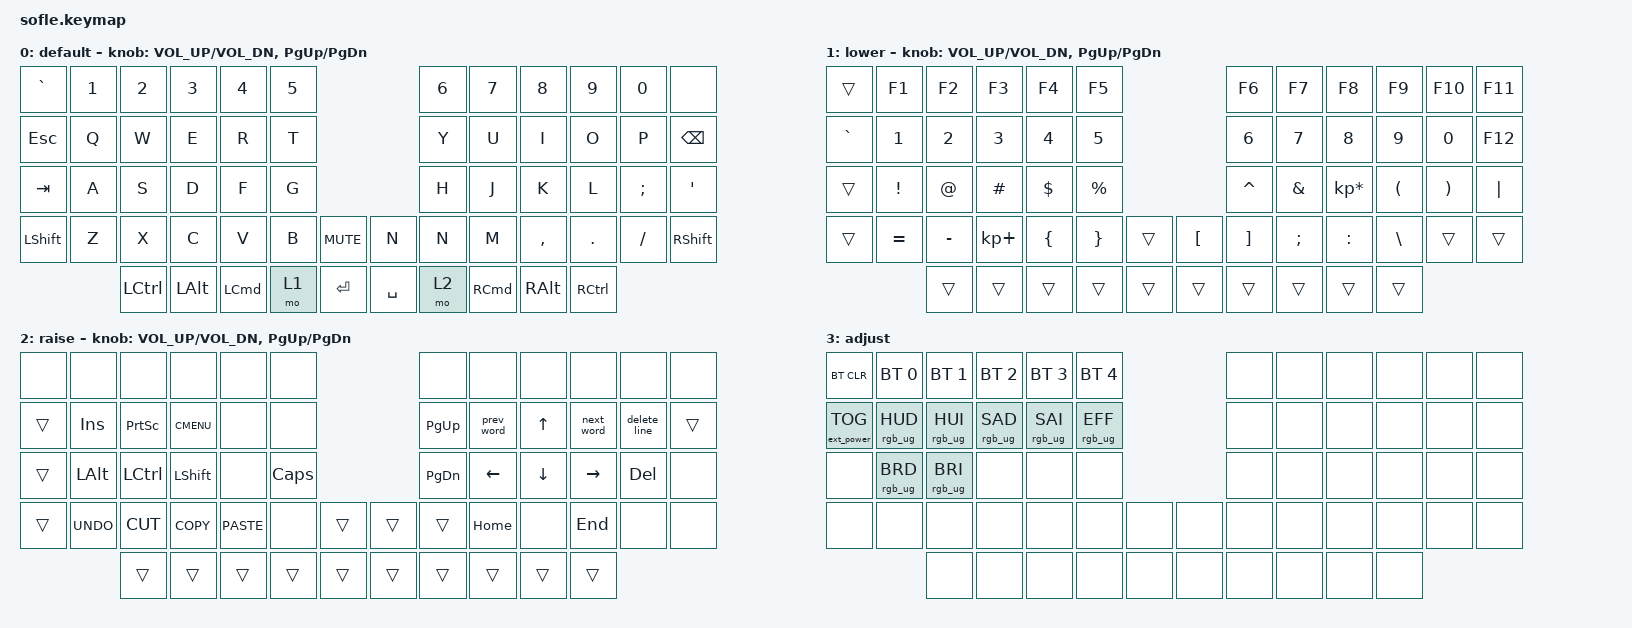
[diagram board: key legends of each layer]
/*
 * Copyright (c) 2020 The ZMK Contributors
 *
 * SPDX-License-Identifier: MIT
 */

#include <behaviors.dtsi>
#include <dt-bindings/zmk/bt.h>
#include <dt-bindings/zmk/ext_power.h>
#include <dt-bindings/zmk/keys.h>
#include <dt-bindings/zmk/rgb.h>

#define BASE 0
#define LOWER 1
#define RAISE 2
#define ADJUST 3

/ {
    // Activate ADJUST layer by pressing raise and lower

    conditional_layers {
        compatible = "zmk,conditional-layers";

        adjust_layer {
            if-layers = <LOWER RAISE>;
            then-layer = <ADJUST>;
        };
    };

    macros {
        delete_line: delete_line {
            compatible = "zmk,behavior-macro";
            #binding-cells = <0>;
            bindings = <&kp LEFT_CONTROL &kp K>;
            label = "DELETE_LINE";
        };

        prev_word: prev_word {
            compatible = "zmk,behavior-macro";
            #binding-cells = <0>;
            bindings = <&kp LEFT_CONTROL &kp LEFT>;
            label = "PREV_WORD";
        };

        next_word: next_word {
            compatible = "zmk,behavior-macro";
            #binding-cells = <0>;
            bindings = <&kp LEFT_CONTROL &kp RIGHT>;
            label = "NEXT_WORD";
        };
    };

    keymap {
        compatible = "zmk,keymap";

        default_layer {
            label = "default";

            // ------------------------------------------------------------------------------------------------------------
            // |   `   |  1  |  2  |  3   |  4   |  5   |                   |  6   |  7    |  8    |  9   |   0   |       |
            // |  ESC  |  Q  |  W  |  E   |  R   |  T   |                   |  Y   |  U    |  I    |  O   |   P   | BKSPC |
            // |  TAB  |  A  |  S  |  D   |  F   |  G   |                   |  H   |  J    |  K    |  L   |   ;   |   '   |
            // | SHIFT |  Z  |  X  |  C   |  V   |  B   |  MUTE  |  |       |  N   |  M    |  ,    |  .   |   /   | SHIFT |
            //               | GUI | ALT  | CTRL | LOWER|  ENTER |  | SPACE | RAISE| CTRL  | ALT   | GUI  |

            bindings = <
&kp GRAVE  &kp N1  &kp N2            &kp N3        &kp N4            &kp N5                           &kp N6  &kp N7             &kp N8         &kp N9             &kp N0     &none
&kp ESC    &kp Q   &kp W             &kp E         &kp R             &kp T                            &kp Y   &kp U              &kp I          &kp O              &kp P      &kp BSPC
&kp TAB    &kp A   &kp S             &kp D         &kp F             &kp G                            &kp H   &kp J              &kp K          &kp L              &kp SEMI   &kp SQT
&kp LSHFT  &kp Z   &kp X             &kp C         &kp V             &kp B   &kp C_MUTE    &kp N      &kp N   &kp M              &kp COMMA      &kp PERIOD         &kp SLASH  &kp RIGHT_SHIFT
                   &kp LEFT_CONTROL  &kp LEFT_ALT  &kp LEFT_COMMAND  &mo 1   &kp RETURN    &kp SPACE  &mo 2   &kp RIGHT_COMMAND  &kp RIGHT_ALT  &kp RIGHT_CONTROL
            >;

            sensor-bindings = <&inc_dec_kp C_VOL_UP C_VOL_DN &inc_dec_kp PG_UP PG_DN>;
        };

        lower_layer {
            label = "lower";

            // TODO: Some binds are waiting for shifted keycode support.
            // ------------------------------------------------------------------------------------------------------------
            // |       |  F1 |  F2 |  F3  |  F4  |  F5  |                   |  F6  |  F7   |  F8   |  F9  |  F10  |  F11  |
            // |   `   |  1  |  2  |  3   |  4   |  5   |                   |  6   |  7    |  8    |  9   |   0   |  F12  |
            // |       |  !  |  @  |  #   |  $   |  %   |                   |  ^   |  &    |  *    |  (   |   )   |   |   |
            // |       |  =  |  -  |  +   |  {   |  }   |        |  |       |  [   |  ]    |  ;    |  :   |   \   |       |
            //               |     |      |      |      |        |  |       |      |       |       |      |

            bindings = <
&trans     &kp F1     &kp F2     &kp F3       &kp F4    &kp F5                         &kp F6     &kp F7    &kp F8           &kp F9    &kp F10   &kp F11
&kp GRAVE  &kp N1     &kp N2     &kp N3       &kp N4    &kp N5                         &kp N6     &kp N7    &kp N8           &kp N9    &kp N0    &kp F12
&trans     &kp EXCL   &kp AT     &kp HASH     &kp DLLR  &kp PRCNT                      &kp CARET  &kp AMPS  &kp KP_MULTIPLY  &kp LPAR  &kp RPAR  &kp PIPE
&trans     &kp EQUAL  &kp MINUS  &kp KP_PLUS  &kp LBRC  &kp RBRC   &trans    &kp LBKT  &kp RBKT   &kp SEMI  &kp COLON        &kp BSLH  &trans    &trans
                      &trans     &trans       &trans    &trans     &trans    &trans    &trans     &trans    &trans           &trans
            >;

            sensor-bindings = <&inc_dec_kp C_VOL_UP C_VOL_DN &inc_dec_kp PG_UP PG_DN>;
        };

        raise_layer {
            label = "raise";

            // ------------------------------------------------------------------------------------------------------------
            // | BTCLR | BT1  | BT2  |  BT3  |  BT4  |  BT5 |                |      |      |       |      |       |       |
            // |       | INS  | PSCR | GUI   |       |      |                | PGUP |      |   ^   |      |       |       |
            // |       | ALT  | CTRL | SHIFT |       | CAPS |                | PGDN |   <- |   v   |  ->  |  DEL  | BKSPC |
            // |       | UNDO | CUT  | COPY  | PASTE |      |      |  |      |      |      |       |      |       |       |
            //                |      |       |       |      |      |  |      |      |      |       |      |

            bindings = <
&none   &none       &none      &none        &none        &none                       &none      &none       &none     &none       &none         &none
&trans  &kp INS     &kp PSCRN  &kp K_CMENU  &none        &none                       &kp PG_UP  &prev_word  &kp UP    &next_word  &delete_line  &trans
&trans  &kp LALT    &kp LCTRL  &kp LSHFT    &none        &kp CLCK                    &kp PG_DN  &kp LEFT    &kp DOWN  &kp RIGHT   &kp DEL       &none
&trans  &kp K_UNDO  &kp K_CUT  &kp K_COPY   &kp K_PASTE  &none     &trans    &trans  &trans     &kp HOME    &none     &kp END     &none         &none
                    &trans     &trans       &trans       &trans    &trans    &trans  &trans     &trans      &trans    &trans
            >;

            sensor-bindings = <&inc_dec_kp C_VOL_UP C_VOL_DN &inc_dec_kp PG_UP PG_DN>;
        };

        adjust_layer {
            // ----------------------------------------------------------------------------------------------------------------------------
            // | BTCLR  |  BT1    |  BT2    |   BT3   |   BT4   |   BT5   |                  |      |      |       |      |       |       |
            // | EXTPWR | RGB_HUD | RGB_HUI | RGB_SAD | RGB_SAI | RGB_EFF |                  |      |      |       |      |       |       |
            // |        | RGB_BRD | RGB_BRI |         |         |         |                  |      |      |       |      |       |       |
            // |        |         |         |         |         |         | RGB_TOG | |      |      |      |       |      |       |       |
            //                    |         |         |         |         |         | |      |      |      |       |      |

            label = "adjust";
            bindings = <
&bt BT_CLR         &bt BT_SEL 0     &bt BT_SEL 1     &bt BT_SEL 2     &bt BT_SEL 3     &bt BT_SEL 4                     &none  &none  &none  &none  &none  &none
&ext_power EP_TOG  &rgb_ug RGB_HUD  &rgb_ug RGB_HUI  &rgb_ug RGB_SAD  &rgb_ug RGB_SAI  &rgb_ug RGB_EFF                  &none  &none  &none  &none  &none  &none
&none              &rgb_ug RGB_BRD  &rgb_ug RGB_BRI  &none            &none            &none                            &none  &none  &none  &none  &none  &none
&none              &none            &none            &none            &none            &none            &none    &none  &none  &none  &none  &none  &none  &none
                                    &none            &none            &none            &none            &none    &none  &none  &none  &none  &none
            >;
        };
    };
};
